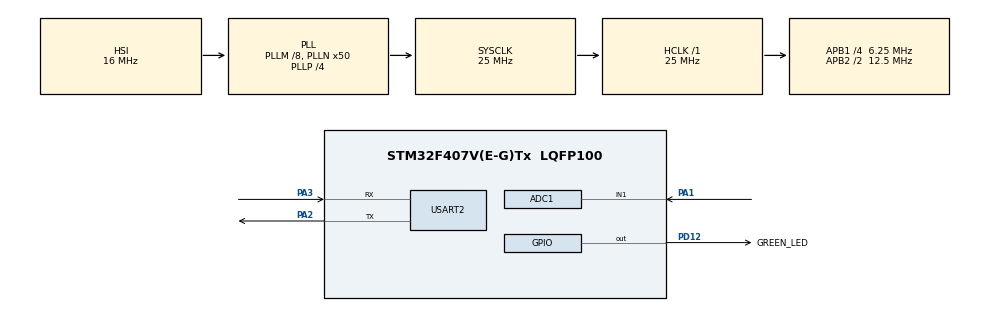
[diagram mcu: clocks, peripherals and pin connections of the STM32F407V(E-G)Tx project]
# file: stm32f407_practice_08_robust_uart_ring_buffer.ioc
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ADC1.Channel-0\#ChannelRegularConversion=ADC_CHANNEL_1
ADC1.NbrOfConversionFlag=1
ADC1.Rank-0\#ChannelRegularConversion=1
ADC1.SamplingTime-0\#ChannelRegularConversion=ADC_SAMPLETIME_3CYCLES
ADC1.master=1
Mcu.Family=STM32F4
Mcu.Name=STM32F407V(E-G)Tx
Mcu.Package=LQFP100
NVIC.PriorityGroup=NVIC_PRIORITYGROUP_0
NVIC.USART2_IRQn=true\:0\:0\:false\:false\:true\:true\:true\:true
PA1.Signal=ADCx_IN1
PA2.Mode=Asynchronous
PA2.Signal=USART2_TX
PA3.Mode=Asynchronous
PA3.Signal=USART2_RX
PD12.GPIO_Label=GREEN_LED
PD12.Signal=GPIO_Output
ProjectManager.HeapSize=0x200
ProjectManager.StackSize=0x400
ProjectManager.TargetToolchain=STM32CubeIDE
RCC.48MHZClocksFreq_Value=14285714.285714285
RCC.AHBFreq_Value=25000000
RCC.APB1CLKDivider=RCC_HCLK_DIV4
RCC.APB1Freq_Value=6250000
RCC.APB1TimFreq_Value=12500000
RCC.APB2CLKDivider=RCC_HCLK_DIV2
RCC.APB2Freq_Value=12500000
RCC.APB2TimFreq_Value=25000000
RCC.CortexFreq_Value=25000000
RCC.HCLKFreq_Value=25000000
RCC.HSE_VALUE=8000000
RCC.HSI_VALUE=16000000
RCC.LSE_VALUE=32768
RCC.PLLM=8
RCC.PLLN=50
RCC.PLLP=RCC_PLLP_DIV4
RCC.PLLQ=7
RCC.SYSCLKFreq_VALUE=25000000
RCC.SYSCLKSource=RCC_SYSCLKSOURCE_PLLCLK
RCC.VCOOutputFreq_Value=100000000
SH.ADCx_IN1.0=ADC1_IN1,IN1
USART2.VirtualMode=VM_ASYNC
board=STM32F407G-DISC1

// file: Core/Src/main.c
/* USER CODE BEGIN Header */
/**
  ******************************************************************************
  * @file           : main.c
  * @brief          : Main program body
  ******************************************************************************
  * @attention
  *
  * Copyright (c) 2026 STMicroelectronics.
  * All rights reserved.
  *
  * This software is licensed under terms that can be found in the LICENSE file
  * in the root directory of this software component.
  * If no LICENSE file comes with this software, it is provided AS-IS.
  *
  ******************************************************************************
  */
/* USER CODE END Header */
#include "main.h"
#include "adc.h"
#include "usart.h"
#include "gpio.h"

/* USER CODE BEGIN Includes */

#include <stdio.h>
#include <string.h>
#include <stdbool.h>

/* USER CODE END Includes */

/* USER CODE BEGIN PTD */

typedef enum CommandMode_e
{
	COMMAND_WAIT,
	COMMAND_PING,
	COMMAND_SET_LED,
	COMMAND_GET_LED,
	COMMAND_GET_ADC,
	COMMAND_COUNT
}CommandMode_t;

typedef enum WorkState_e
{
	PARSER_WAIT_START,
	PARSER_READ_PACKET,
	PARSER_APPLICATION,
	PARSER_SEND,
	PARSER_ERROR
}WorkState_t;

typedef enum ErrorState_e
{
	ERROR_NO								= 0x00,
	ERROR_RX_TIMEOUT						= 0xA0,
	ERROR_RX_PAYLOAD_LENGTH_OVERFLOW		= 0xA1,
	ERROR_RX_START_BYTE_NOT_FOUND			= 0xA2,
	ERROR_RX_INVALID_COMMAND				= 0xA3,
	ERROR_RX_CHECKSUM						= 0xA4,
	ERROR_RX_INCONSISTENCY					= 0xA5,
	ERROR_RX_BUFFER_FULL					= 0xA6,
	ERROR_COMMAND_INVALID_PAYLOAD_LENGTH	= 0xB0,
	ERROR_COMMAND_INVALID_PAYLOAD			= 0xB1,
	ERROR_EXEC_VERIFICATION_FAILED			= 0xC0,
	ERROR_EXEC_READ_ADC_FAILED				= 0xC1

}ErrorState_t;

/* USER CODE END PTD */

/* USER CODE BEGIN PD */

#define UART_BUFFER_RING_SIZE	50U
#define RX_TX_PACKET_SIZE		8U
#define TIMEOUT_TIME			5000U
#define PAYLOAD_DATA_SIZE		3U
#define ADC_READ_COUNT			10U
#define ADC_READ_MIN_COUNT		3U

/* USER CODE END PD */

/* USER CODE BEGIN PV */

static CommandMode_t 	command_state = COMMAND_WAIT;
static WorkState_t 		parser_state = PARSER_WAIT_START;
static ErrorState_t 	error_state = ERROR_NO;

static volatile bool backtop_write = false;
static volatile bool backtop_read = false;
static volatile bool buffer_full = false;

static volatile uint8_t uart_buffer_ring[UART_BUFFER_RING_SIZE];
static volatile uint8_t buffer_write_index = 0U;
static volatile uint8_t buffer_read_index = 0U;
static uint8_t rx_byte = 0U;

static uint8_t rx_packet[RX_TX_PACKET_SIZE];
static uint8_t rx_command = 0U;
static uint8_t rx_payload_length = 0U;
static uint8_t rx_payload[PAYLOAD_DATA_SIZE];
static uint8_t rx_checksum = 0U;

static uint8_t command_payload_length = 0U;
static uint8_t command_payload_value_min[PAYLOAD_DATA_SIZE];
static uint8_t command_payload_value_max[PAYLOAD_DATA_SIZE];
static uint8_t response_data_length = 0U;
static uint8_t response_data_value[PAYLOAD_DATA_SIZE];

/* USER CODE END PV */

void SystemClock_Config(void);
/* USER CODE BEGIN PFP */

void TransmitPacket(void);
void ResetIndex(void);

/* USER CODE END PFP */

/* USER CODE BEGIN 0 */

void ResetProtocolState(void)
{
	command_state = COMMAND_WAIT;
	parser_state = PARSER_WAIT_START;
	error_state = ERROR_NO;

	rx_command = 0U;
	rx_payload_length = 0U;
	rx_checksum = 0U;

	command_payload_length = 0U;
	response_data_length = 0U;

	for(uint8_t i = 0; i < RX_TX_PACKET_SIZE; i++)
	{
		rx_packet[i] = 0U;
	}

	for(uint8_t i = 0; i < PAYLOAD_DATA_SIZE; i++)
	{
		rx_payload[i] = 0U;
		command_payload_value_min[i] = 0U;
		command_payload_value_max[i] = 0U;
		response_data_value[i] = 0U;
	}

}

void BufferFullRecovery(void)
{
	if (buffer_full == true)
	{
		parser_state = PARSER_ERROR;
		error_state = ERROR_RX_BUFFER_FULL;

		TransmitPacket();

		ResetProtocolState();

		buffer_full = false;

	}
}

void ResetIndex(void)
{
	if(buffer_read_index == UART_BUFFER_RING_SIZE)
	{
		buffer_read_index = 0U;

		if (backtop_read == true)
		{
			backtop_read = false;
		}
		else
		{
			backtop_read = true;
		}
	}
}

uint8_t CalculateChecksum(uint8_t data[], uint8_t length)
{
	uint8_t sum = 0U;

	for(uint8_t i = 1; i < length; i++)
	{
		sum ^= data[i];
	}

	return sum;
}

void ADCReadAverage(void)
{
	uint32_t sum = 0U;
	uint8_t count = 0U;

	for(uint8_t i = 0; i < ADC_READ_COUNT; i++)
	{
		HAL_ADC_Start(&hadc1);

		if(HAL_ADC_PollForConversion(&hadc1, 10) == HAL_OK)
		{
			sum += HAL_ADC_GetValue(&hadc1);
			count++;
		}

		HAL_ADC_Stop(&hadc1);
	}

	if (count >= ADC_READ_MIN_COUNT)
	{
		uint16_t raw = (uint16_t)(sum/((uint32_t)count));
		response_data_value[0] = (uint8_t)(raw >> 8);
		response_data_value[1] = (uint8_t)(raw);
		response_data_length = 0x02U;
	}

	else
	{
		parser_state = PARSER_ERROR;
		error_state = ERROR_EXEC_READ_ADC_FAILED;
	}
}

uint8_t ProcessBuffer(void)
{
	uint32_t last_time = 0U;
	uint8_t packet_index = 0U;
	uint8_t packet_length = 0U;
	bool start_packet = true;

	while(start_packet)
	{
		if(buffer_read_index != buffer_write_index || backtop_write != backtop_read)
		{
			if(uart_buffer_ring[buffer_read_index] == 0xAAU)
			{
				rx_packet[packet_index] = uart_buffer_ring[buffer_read_index];
				packet_index++;
				buffer_read_index++;
				start_packet = false;
			}
			else
			{
				buffer_read_index++;
			}
			ResetIndex();
		}
	}

	last_time = HAL_GetTick();

	while(parser_state == PARSER_WAIT_START)
	{
		if((HAL_GetTick() - last_time) >= TIMEOUT_TIME)
		{
			parser_state = PARSER_ERROR;
			error_state = ERROR_RX_TIMEOUT;
		}

		else if(buffer_read_index != buffer_write_index || backtop_write != backtop_read)
		{
			rx_packet[packet_index] = uart_buffer_ring[buffer_read_index];

			if(packet_index == 2)
			{
				if(rx_packet[2] <= PAYLOAD_DATA_SIZE)
				{
					packet_length = rx_packet[2] + 4U;
				}
				else
				{
					parser_state = PARSER_ERROR;
					error_state = ERROR_RX_PAYLOAD_LENGTH_OVERFLOW;
				}
			}

			buffer_read_index++;
			packet_index++;

			if(packet_index == packet_length && error_state == ERROR_NO)
			{
				parser_state = PARSER_READ_PACKET;
			}

			ResetIndex();
			last_time = HAL_GetTick();
		}
	}

	return packet_length;

}

void ParserPipeline(uint8_t length)
{
	uint8_t packet_index = 0U;
	uint8_t checksum = 0U;

	if(rx_packet[packet_index] != 0xAA)
	{
		parser_state = PARSER_ERROR;
		error_state = ERROR_RX_START_BYTE_NOT_FOUND;
	}

	packet_index++;

	if(error_state == ERROR_NO)
	{
		if(rx_packet[packet_index] == 0x00 || rx_packet[packet_index] >= COMMAND_COUNT)
		{
			rx_command = rx_packet[packet_index];
			parser_state = PARSER_ERROR;
			error_state = ERROR_RX_INVALID_COMMAND;
		}

		else
		{
			rx_command = rx_packet[packet_index];
			command_state = rx_packet[packet_index];

			packet_index++;

			rx_payload_length = rx_packet[packet_index];

			packet_index++;

			for(uint8_t i = 0; i < rx_payload_length; i++)
			{
				rx_payload[i] = rx_packet[packet_index];
				packet_index++;
			}

			checksum = CalculateChecksum(rx_packet, packet_index);

			if(checksum == rx_packet[packet_index])
			{
				rx_checksum = rx_packet[packet_index];
				packet_index++;

				if(packet_index == length)
				{
					parser_state = PARSER_APPLICATION;
				}
				else
				{
					parser_state = PARSER_ERROR;
					error_state = ERROR_RX_INCONSISTENCY;
				}
			}
			else
			{
				parser_state = PARSER_ERROR;
				error_state = ERROR_RX_CHECKSUM;
			}
		}
	}
}

bool CommandDetailsCheck(uint8_t payload_length, uint8_t value_min[], uint8_t value_max[])
{
	uint8_t pass = false;

	if(rx_payload_length == payload_length)
	{
		pass = true;

		for(uint8_t i = 0; i < payload_length; i++)
		{
			if(pass)
			{
				if(rx_payload[i] < value_min[i] || rx_payload[i] > value_max[i])
				{
					parser_state = PARSER_ERROR;
					error_state = ERROR_COMMAND_INVALID_PAYLOAD;
					pass = false;
				}
			}
		}
	}
	else
	{
		parser_state = PARSER_ERROR;
		error_state = ERROR_COMMAND_INVALID_PAYLOAD_LENGTH;
		pass = false;
	}

	return pass;
}

void WorkflowManager(void)
{
	bool pass = false;

	switch(command_state)
	{
	case COMMAND_PING:
		command_payload_length = 0x00U;
		pass = CommandDetailsCheck(command_payload_length, command_payload_value_min, command_payload_value_max);
		if(pass)
		{
			response_data_length = 0x01U;
			response_data_value[0] = 0x01U;
		}
		break;

	case COMMAND_SET_LED:
		command_payload_length = 0x01U;
		command_payload_value_min[0] = 0x00U;
		command_payload_value_max[0] = 0x01U;
		pass = CommandDetailsCheck(command_payload_length, command_payload_value_min, command_payload_value_max);
		if(pass)
		{
			HAL_GPIO_WritePin(GREEN_LED_GPIO_Port, GREEN_LED_Pin, rx_payload[0]);
			uint8_t test = HAL_GPIO_ReadPin(GREEN_LED_GPIO_Port, GREEN_LED_Pin);
			if(test != rx_payload[0])
			{
				parser_state = PARSER_ERROR;
				error_state = ERROR_EXEC_VERIFICATION_FAILED;
			}
			else
			{
				response_data_value[0] = test;
				response_data_length = 0x01U;
			}
		}
		break;

	case COMMAND_GET_LED:
		command_payload_length = 0x00U;
		pass = CommandDetailsCheck(command_payload_length, command_payload_value_min, command_payload_value_max);
		if (pass)
		{
			response_data_length = 0x01U;
			response_data_value[0] = HAL_GPIO_ReadPin(GREEN_LED_GPIO_Port, GREEN_LED_Pin);
		}
		break;

	case COMMAND_GET_ADC:
		command_payload_length = 0x00U;
		pass = CommandDetailsCheck(command_payload_length, command_payload_value_min, command_payload_value_max);
		if (pass)
		{
			ADCReadAverage();
		}
		break;

	default:
		break;
	}

	if(error_state == ERROR_NO)
	{
		parser_state = PARSER_SEND;
	}
}

void TransmitPacket(void)
{
	uint8_t response_msg[RX_TX_PACKET_SIZE];
	uint8_t start_byte = 0xAAU;
	uint8_t checksum = 0U;
	uint8_t msg_index = 0U;

	response_msg[msg_index] = start_byte;
	msg_index++;

	response_msg[msg_index] = rx_command;
	msg_index++;

	response_msg[msg_index] = error_state;
	msg_index++;

	if(error_state != ERROR_NO)
	{
		response_data_length = 0x0U;
	}

	response_msg[msg_index] = response_data_length;
	msg_index++;

	for(uint8_t i = 0; i < response_data_length; i++)
	{
		response_msg[msg_index] = response_data_value[i];
		msg_index++;
	}

	checksum = CalculateChecksum(response_msg, msg_index);

	response_msg[msg_index] = checksum;
	msg_index++;

	HAL_UART_Transmit(&huart2, (uint8_t* )response_msg, msg_index, HAL_MAX_DELAY);
}

/* USER CODE END 0 */

int main(void)
{

  /* MCU Configuration--------------------------------------------------------*/

  /* Reset of all peripherals, Initializes the Flash interface and the Systick. */
  HAL_Init();

  /* Configure the system clock */
  SystemClock_Config();

  /* Initialize all configured peripherals */
  MX_GPIO_Init();
  MX_ADC1_Init();
  MX_USART2_UART_Init();
  /* USER CODE BEGIN 2 */

  if(HAL_UART_Receive_IT(&huart2, &rx_byte, 1U) != HAL_OK)
  {
	  Error_Handler();
  }

  ResetProtocolState();

  uint8_t length = 0U;

  /* USER CODE END 2 */

  /* Infinite loop */
  /* USER CODE BEGIN WHILE */
  while (1)
  {

	  switch(parser_state)
	  {
	  case PARSER_WAIT_START:
		  length = ProcessBuffer();
		  break;

	  case PARSER_READ_PACKET:
		  ParserPipeline(length);
		  break;

	  case PARSER_APPLICATION:
		  WorkflowManager();
		  break;

	  case PARSER_SEND:
		  TransmitPacket();
		  ResetProtocolState();
		  BufferFullRecovery();
		  break;

	  default:
		  TransmitPacket();
		  ResetProtocolState();
		  BufferFullRecovery();
		  break;

	  }

    /* USER CODE END WHILE */

  }
}

void SystemClock_Config(void)
{
  RCC_OscInitTypeDef RCC_OscInitStruct = {0};
  RCC_ClkInitTypeDef RCC_ClkInitStruct = {0};

  /** Configure the main internal regulator output voltage
  */
  __HAL_RCC_PWR_CLK_ENABLE();
  __HAL_PWR_VOLTAGESCALING_CONFIG(PWR_REGULATOR_VOLTAGE_SCALE1);

  /** Initializes the RCC Oscillators according to the specified parameters
  * in the RCC_OscInitTypeDef structure.
  */
  RCC_OscInitStruct.OscillatorType = RCC_OSCILLATORTYPE_HSI;
  RCC_OscInitStruct.HSIState = RCC_HSI_ON;
  RCC_OscInitStruct.HSICalibrationValue = RCC_HSICALIBRATION_DEFAULT;
  RCC_OscInitStruct.PLL.PLLState = RCC_PLL_ON;
  RCC_OscInitStruct.PLL.PLLSource = RCC_PLLSOURCE_HSI;
  RCC_OscInitStruct.PLL.PLLM = 8;
  RCC_OscInitStruct.PLL.PLLN = 50;
  RCC_OscInitStruct.PLL.PLLP = RCC_PLLP_DIV4;
  RCC_OscInitStruct.PLL.PLLQ = 7;
  if (HAL_RCC_OscConfig(&RCC_OscInitStruct) != HAL_OK)
  {
    Error_Handler();
  }

  /** Initializes the CPU, AHB and APB buses clocks
  */
  RCC_ClkInitStruct.ClockType = RCC_CLOCKTYPE_HCLK|RCC_CLOCKTYPE_SYSCLK
                              |RCC_CLOCKTYPE_PCLK1|RCC_CLOCKTYPE_PCLK2;
  RCC_ClkInitStruct.SYSCLKSource = RCC_SYSCLKSOURCE_PLLCLK;
  RCC_ClkInitStruct.AHBCLKDivider = RCC_SYSCLK_DIV1;
  RCC_ClkInitStruct.APB1CLKDivider = RCC_HCLK_DIV4;
  RCC_ClkInitStruct.APB2CLKDivider = RCC_HCLK_DIV2;

  if (HAL_RCC_ClockConfig(&RCC_ClkInitStruct, FLASH_LATENCY_0) != HAL_OK)
  {
    Error_Handler();
  }
}

/* USER CODE BEGIN 4 */

void HAL_UART_RxCpltCallback(UART_HandleTypeDef* huart)
{
	if(huart->Instance == USART2)
	{

		if(buffer_read_index == buffer_write_index && backtop_write != backtop_read)
		{
			buffer_full = true;
		}
		else
		{
			uart_buffer_ring[buffer_write_index] = rx_byte;
			buffer_write_index++;
			if(buffer_write_index == UART_BUFFER_RING_SIZE)
			{
				buffer_write_index = 0U;

				if(backtop_write == true)
				{
					backtop_write = false;
				}
				else
				{
					backtop_write = true;
				}
			}
		}

		if(HAL_UART_Receive_IT(&huart2, &rx_byte, 1U) != HAL_OK)
		{
			Error_Handler();
		}
	}
}

/* USER CODE END 4 */

void Error_Handler(void)
{
  __disable_irq();
  while (1)
  {
  }
}
